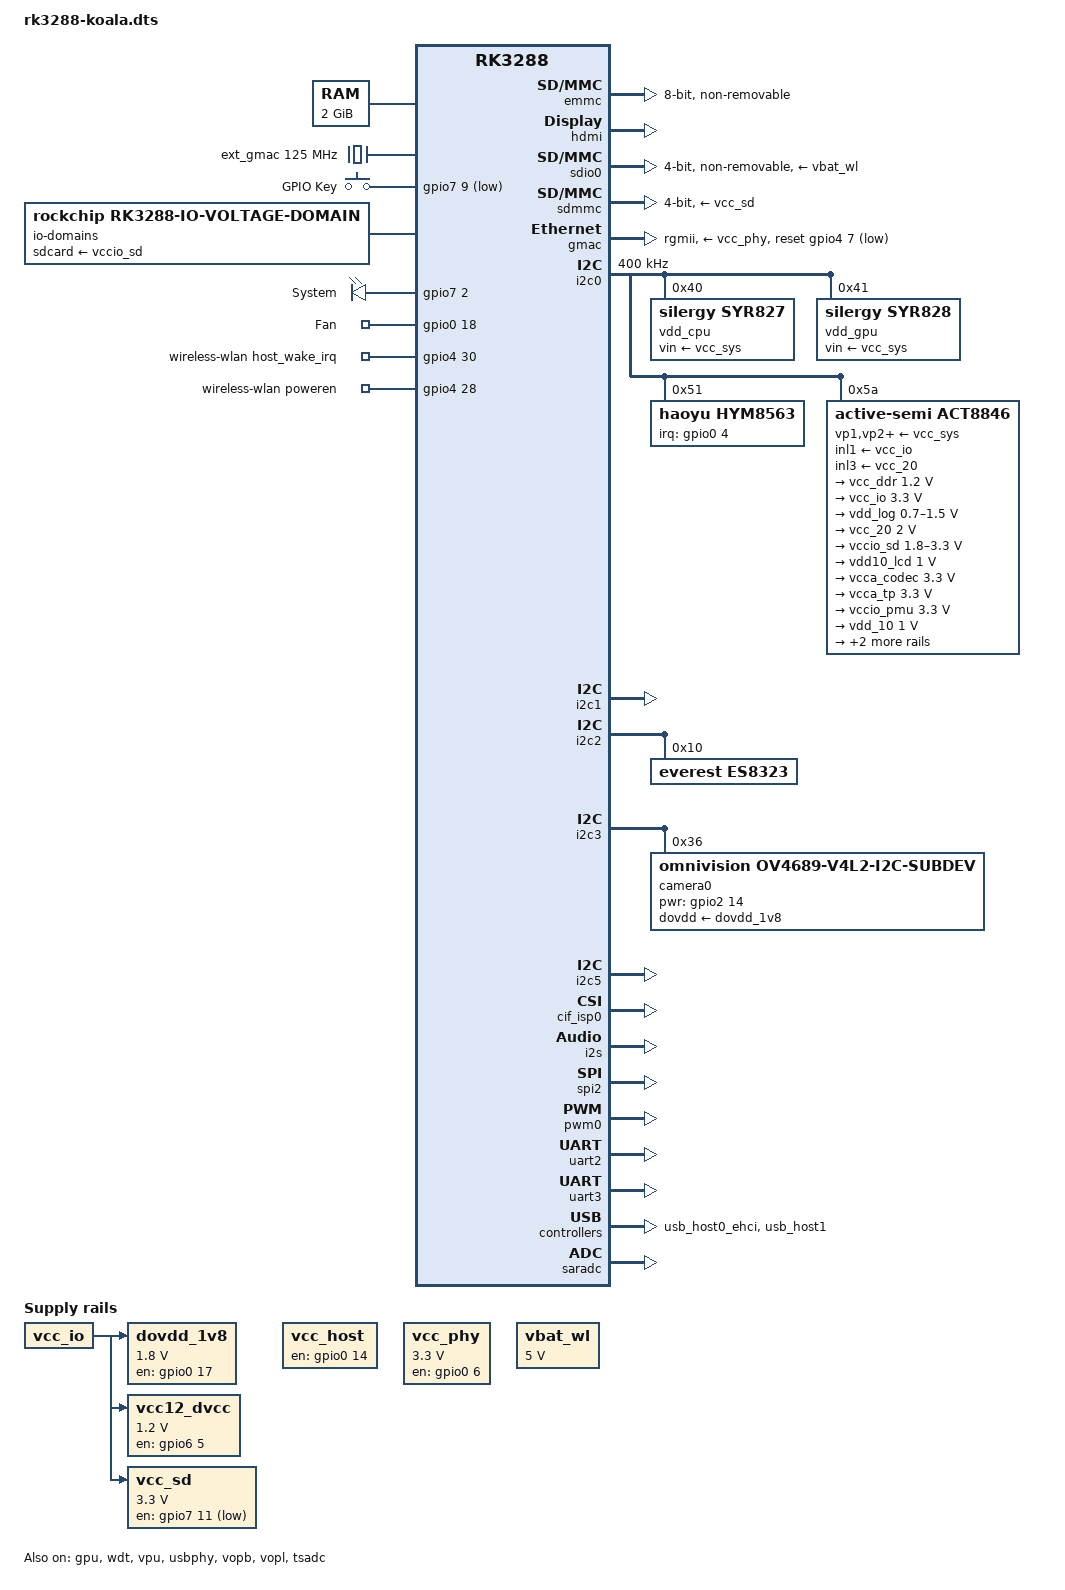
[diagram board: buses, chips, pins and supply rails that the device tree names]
/*
 * Copyright 2016 Rockchip, Inc
 *
 * This file is dual-licensed: you can use it either under the terms
 * of the GPL or the X11 license, at your option. Note that this dual
 * licensing only applies to this file, and not this project as a
 * whole.
 *
 *  a) This file is free software; you can redistribute it and/or
 *     modify it under the terms of the GNU General Public License as
 *     published by the Free Software Foundation; either version 2 of the
 *     License, or (at your option) any later version.
 *
 *     This file is distributed in the hope that it will be useful,
 *     but WITHOUT ANY WARRANTY; without even the implied warranty of
 *     MERCHANTABILITY or FITNESS FOR A PARTICULAR PURPOSE.  See the
 *     GNU General Public License for more details.
 *
 *  Or, alternatively,
 *
 *  b) Permission is hereby granted, free of charge, to any person
 *     obtaining a copy of this software and associated documentation
 *     files (the "Software"), to deal in the Software without
 *     restriction, including without limitation the rights to use,
 *     copy, modify, merge, publish, distribute, sublicense, and/or
 *     sell copies of the Software, and to permit persons to whom the
 *     Software is furnished to do so, subject to the following
 *     conditions:
 *
 *     The above copyright notice and this permission notice shall be
 *     included in all copies or substantial portions of the Software.
 *
 *     THE SOFTWARE IS PROVIDED "AS IS", WITHOUT WARRANTY OF ANY KIND,
 *     EXPRESS OR IMPLIED, INCLUDING BUT NOT LIMITED TO THE WARRANTIES
 *     OF MERCHANTABILITY, FITNESS FOR A PARTICULAR PURPOSE AND
 *     NONINFRINGEMENT. IN NO EVENT SHALL THE AUTHORS OR COPYRIGHT
 *     HOLDERS BE LIABLE FOR ANY CLAIM, DAMAGES OR OTHER LIABILITY,
 *     WHETHER IN AN ACTION OF CONTRACT, TORT OR OTHERWISE, ARISING
 *     FROM, OUT OF OR IN CONNECTION WITH THE SOFTWARE OR THE USE OR
 *     OTHER DEALINGS IN THE SOFTWARE.
 */

/dts-v1/;
#include <dt-bindings/pwm/pwm.h>
#include "rk3288.dtsi"

/*
GPIO_MAPPING
linux-rockchip/include/dt-bindings/pinctrl/rk.h
#define GPIO_A0         0
#define GPIO_A1         1
#define GPIO_A2         2
#define GPIO_A3         3
#define GPIO_A4         4
#define GPIO_A5         5
#define GPIO_A6         6
#define GPIO_A7         7
#define GPIO_B0         8
#define GPIO_B1         9
#define GPIO_B2         10
#define GPIO_B3         11
#define GPIO_B4         12
#define GPIO_B5         13
#define GPIO_B6         14
#define GPIO_B7         15
#define GPIO_C0         16
#define GPIO_C1         17
#define GPIO_C2         18
#define GPIO_C3         19
#define GPIO_C4         20
#define GPIO_C5         21
#define GPIO_C6         22
#define GPIO_C7         23
#define GPIO_D0         24
#define GPIO_D1         25
#define GPIO_D2         26
#define GPIO_D3         27
#define GPIO_D4         28
#define GPIO_D5         29
#define GPIO_D6         30
#define GPIO_D7         31
*/

/ {
	compatible = "rockchip,rk3288-koala", "rockchip,rk3288";

	ion {
	    compatible = "rockchip,ion";
            #address-cells = <1>;
	    #size-cells = <0>;

	    cma-heap {
                reg = <0x78000000 0x08000000>;
        	};

	system-heap {
        	    };
	};
    
	memory {
		device_type = "memory";
		reg = <0x0 0x80000000>;
	};

	sound {
		compatible = "simple-audio-card";
		simple-audio-card,format = "i2s";
		simple-audio-card,name = "DW-HDMI";
		simple-audio-card,mclk-fs = <512>;

		simple-audio-card,dai-link@0 {  /* I2S - S/PDIF */
			format = "i2s";
			cpu {
				sound-dai = <&i2s>;
			};
			codec {
				sound-dai = <&hdmi>;
			};
		};

                simple-audio-card,dai-link@1 {
                        format = "i2s";
                        cpu {
                                sound-dai = <&i2s>;
                        };

                        codec {
                                sound-dai = <&es8323>;
                        };
                };

		/*
		 * If you want to support more cards,
		 * you can add more dai-link node,
		 * such as
		 *
		 *   simple-audio-card,dai-link@1 {
		 *       ......
		 *   }
		 */

	};

	ext_gmac: external-gmac-clock {
		compatible = "fixed-clock";
		clock-frequency = <125000000>;
		clock-output-names = "ext_gmac";
		#clock-cells = <0>;
	};

	gpio-keys {
		compatible = "gpio-keys";
		#address-cells = <1>;
		#size-cells = <0>;
		autorepeat;

		pinctrl-names = "default";
		pinctrl-0 = <&gkey>;

		button@0 {
			gpios = <&gpio7 9 GPIO_ACTIVE_LOW>;
			linux,code = <116>;
			label = "GPIO Key";
			linux,input-type = <1>;
			debounce-interval = <100>;
		};
	};

	/* This turns on USB vbus for both host0 (ehci) and host1 (dwc2) */
	vcc_host: vcc-host-regulator {
		compatible = "regulator-fixed";
		enable-active-high;
		gpio = <&gpio0 14 GPIO_ACTIVE_HIGH>;
		pinctrl-names = "default";
		pinctrl-0 = <&host_vbus_drv>;
		regulator-name = "vcc_host";
		regulator-always-on;
		regulator-boot-on;
	};

	vcc_phy: vcc-phy-regulator {
		compatible = "regulator-fixed";
		enable-active-high;
		gpio = <&gpio0 6 GPIO_ACTIVE_HIGH>;
		pinctrl-names = "default";
		pinctrl-0 = <&eth_phy_pwr>;
		regulator-name = "vcc_phy";
		regulator-min-microvolt = <3300000>;
		regulator-max-microvolt = <3300000>;
		regulator-always-on;
		regulator-boot-on;
	};

	vbat_wl: vcc_sys: vsys-regulator {
		compatible = "regulator-fixed";
		regulator-name = "vcc_sys";
		regulator-min-microvolt = <5000000>;
		regulator-max-microvolt = <5000000>;
		regulator-always-on;
		regulator-boot-on;
	};

	dovdd_1v8: dovdd-1v8-regulator {
		compatible = "regulator-fixed";
		enable-active-high;
		/*GPIO0_C1*/
		gpio = <&gpio0 17 GPIO_ACTIVE_HIGH>;
		pinctrl-names = "default";
		pinctrl-0 = <&dvp_pwr>;

		regulator-name = "dovdd_1v8";
		regulator-min-microvolt = <1800000>;
		regulator-max-microvolt = <1800000>;
		vin-supply = <&vcc_io>;
	};

	vcc12_dvcc: vcc12_dvcc-regulator {
		compatible = "regulator-fixed";
		enable-active-high;

		gpio = <&gpio6 5 GPIO_ACTIVE_HIGH>;
		pinctrl-names = "default";
		pinctrl-0 = <&cif_pwr>;

		regulator-name = "vcc12_dvcc";
		regulator-min-microvolt = <1200000>;
		regulator-max-microvolt = <1200000>;
		vin-supply = <&vcc_io>;
	};


	



	/*
	 * NOTE: vcc_sd isn't hooked up on v1.0 boards where power comes from
	 * vcc_io directly.  Those boards won't be able to power cycle SD cards
	 * but it shouldn't hurt to toggle this pin there anyway.
	 */
	vcc_sd: sdmmc-regulator {
		compatible = "regulator-fixed";
		gpio = <&gpio7 11 GPIO_ACTIVE_LOW>;
		pinctrl-names = "default";
		pinctrl-0 = <&sdmmc_pwr>;
		regulator-name = "vcc_sd";
		regulator-min-microvolt = <3300000>;
		regulator-max-microvolt = <3300000>;
		startup-delay-us = <100000>;
		vin-supply = <&vcc_io>;
	};

	io-domains {
		compatible = "rockchip,rk3288-io-voltage-domain";
		rockchip,grf = <&grf>;
		sdcard-supply = <&vccio_sd>;
	};

	board-leds {
			compatible = "gpio-leds";
			status = "okay";

			work {
					label = "System";
					linux,default-trigger = "timer";
					default-state = "on";
					gpios = <&gpio7 2 GPIO_ACTIVE_HIGH>;
			};

			fan {
					label = "Fan";
					linux,default-trigger = "heartbeat";
					default-state = "on";
					gpios = <&gpio0 18 GPIO_ACTIVE_HIGH>;
			};
	};

/*
	for Koala board
	BT:
		BT_RST -> GPIO4_D5 -> <4 29>
		BT_HOST_WAKE -> GPIO4_D7 -> <4 31>
		BT_WAKE -> GPIO4_D2 -> <4 26>
	WIFI:
		WIFI_HOST_WAKE -> GPIO4_D6<4 30>
		VCCIO_WL -> vccio_18 1.8v
*/
	wireless-bluetooth {
		compatible = "bluetooth-platdata";
		uart_rts_gpios = <&gpio4 19 GPIO_ACTIVE_LOW>;
		pinctrl-names = "default", "rts_gpio";
		pinctrl-0 = <&uart0_rts>;
		pinctrl-1 = <&uart0_gpios>;
		BT,reset_gpio    = <&gpio4 29 GPIO_ACTIVE_HIGH>;
		BT,wake_gpio     = <&gpio4 26 GPIO_ACTIVE_HIGH>;
		BT,wake_host_irq = <&gpio4 31 GPIO_ACTIVE_HIGH>;
		status = "disabled";
	};

	wireless-wlan {
		compatible = "wlan-platdata";
		rockchip,grf = <&grf>;
		wifi_chip_type = "ap6181";
		sdio_vref = <1800>;
		WIFI,host_wake_irq = <&gpio4 30 GPIO_ACTIVE_HIGH>;
		WIFI,poweren_gpio = <&gpio4 28 GPIO_ACTIVE_HIGH>;
		status = "okay";
	};
};

&cpu0 {
	cpu0-supply = <&vdd_cpu>;
       operating-points = <
           /* KHz    uV */
           1800000 1400000
           1704000 1350000
           1608000 1300000
           1512000 1250000
           1416000 1200000
           1200000 1100000
            1008000 1050000
       >;
};

&gpu {
	status = "okay";
	mali-supply = <&vdd_gpu>;
    power-off-delay-ms = <200>;
};

&emmc {
	bus-width = <8>;
	cap-mmc-highspeed;
	disable-wp;
	non-removable;
	clock-frequency = <75000000>;
	num-slots = <1>;
	pinctrl-names = "default";
	pinctrl-0 = <&emmc_clk &emmc_cmd &emmc_pwr &emmc_bus8>;
	status = "okay";
};

&hdmi {
	#address-cells = <1>;
	#size-cells = <0>;
	#sound-dai-cells = <0>;
	ddc-i2c-bus = <&i2c5>;
	status = "okay";
};

&sdio0 {
	clock-frequency = <50000000>;
	clock-freq-min-max = <200000 50000000>;

	bus-width = <4>;
	cap-sd-highspeed;
	cap-sdio-irq;
	disable-wp;
	keep-power-in-suspend;
	non-removable;
	num-slots = <1>;
	pinctrl-names = "default";
	pinctrl-0 = <&sdio0_bus4 &sdio0_cmd &sdio0_clk &sdio0_int>;
	sd-uhs-sdr104;
	supports-sdio;

/*
	- vmmc-supply: power to the Core
	- vqmmc-supply: power to the IO
	koala: vcc_io(3v-4.8v) -> vbat_wl
*/
	vmmc-supply = <&vbat_wl>;
	vqmmc-supply = <&vccio_wl>;
	status = "okay";
};

&sdmmc {
	supports-sd;
	bus-width = <4>;
	cap-mmc-highspeed;
	sd-uhs-sdr12;
	sd-uhs-sdr25;
	sd-uhs-sdr50;
	sd-uhs-sdr104;
	cap-sd-highspeed;
	card-detect-delay = <200>;
	disable-wp;			/* wp not hooked up */
	num-slots = <1>;
	pinctrl-names = "default";
	pinctrl-0 = <&sdmmc_clk &sdmmc_cmd &sdmmc_cd &sdmmc_bus4>;
	status = "okay";
	vmmc-supply = <&vcc_sd>;
	vqmmc-supply = <&vccio_sd>;
};

&gmac {
	phy-supply = <&vcc_phy>;
	phy-mode = "rgmii";
	clock_in_out = "input";
	snps,reset-gpio = <&gpio4 7 0>;
	snps,reset-active-low;
	snps,reset-delays-us = <0 10000 1000000>;
	assigned-clocks = <&cru SCLK_MAC>;
	assigned-clock-parents = <&ext_gmac>;
	pinctrl-names = "default";
	pinctrl-0 = <&rgmii_pins>;
	tx_delay = <0x30>;
	rx_delay = <0x10>;
	status = "ok";
};

/* ----------------------------------------------------------------------------------
I2C
   0 - PMIC(ACT8846)
       RTC(HYM8563)
       SYR827 -> VDD_CPU_FB
       SYR828 -> VDD_GPU_FB
   1 - Header-J9
   2 - Header-J10
   3 - NC
   4 - NC
   5 - HDMI
-------------------------------------------------------------------------------------*/
&i2c0 {
	status = "okay";

	clock-frequency = <400000>;

	vdd_cpu: syr827@40 {
		compatible = "silergy,syr827";
		fcs,suspend-voltage-selector = <1>;
		reg = <0x40>;
		regulator-name = "vdd_cpu";
		regulator-min-microvolt = <712500>;
		regulator-max-microvolt = <1500000>;
		regulator-always-on;
		regulator-boot-on;
		regulator-enable-ramp-delay = <300>;
		regulator-ramp-delay = <8000>;
		vin-supply = <&vcc_sys>;
	};

	vdd_gpu: syr828@41 {
		compatible = "silergy,syr828";
		fcs,suspend-voltage-selector = <1>;
		reg = <0x41>;
		regulator-name = "vdd_gpu";
		regulator-min-microvolt = <712500>;
		regulator-max-microvolt = <1500000>;
		regulator-always-on;
		vin-supply = <&vcc_sys>;
	};

	hym8563: hym8563@51 {
		compatible = "haoyu,hym8563";
		reg = <0x51>;

		interrupt-parent = <&gpio0>;
		interrupts = <4 IRQ_TYPE_EDGE_FALLING>;

		pinctrl-names = "default";
		pinctrl-0 = <&pmic_int>;

		#clock-cells = <0>;
		clock-output-names = "xin32k";
	};

	act8846: act8846@5a {
		compatible = "active-semi,act8846";
		reg = <0x5a>;
		status = "okay";
        system-power-controller;

		vp1-supply = <&vcc_sys>;
		vp2-supply = <&vcc_sys>;
		vp3-supply = <&vcc_sys>;
		vp4-supply = <&vcc_sys>;
		inl1-supply = <&vcc_io>;
		inl2-supply = <&vcc_sys>;
		inl3-supply = <&vcc_20>;

		regulators {
			vcc_ddr: REG1 {
				regulator-name = "VCC_DDR";
				regulator-min-microvolt = <1200000>;
				regulator-max-microvolt = <1200000>;
				regulator-always-on;
			};

			vcc_io: REG2 {
				regulator-name = "VCC_IO";
				regulator-min-microvolt = <3300000>;
				regulator-max-microvolt = <3300000>;
				regulator-always-on;
			};

			vdd_log: REG3 {
				regulator-name = "VDD_LOG";
				regulator-min-microvolt = <700000>;
				regulator-max-microvolt = <1500000>;
				regulator-always-on;
                regulator-boot-on;
			};

			vcc_20: REG4 {
				regulator-name = "VCC_20";
				regulator-min-microvolt = <2000000>;
				regulator-max-microvolt = <2000000>;
				regulator-always-on;
			};

			vccio_sd: REG5 {
				regulator-name = "VCCIO_SD";
				regulator-min-microvolt = <1800000>;
				regulator-max-microvolt = <3300000>;
				regulator-always-on;
			};

			vdd10_lcd: REG6 {
				regulator-name = "VDD10_LCD";
				regulator-min-microvolt = <1000000>;
				regulator-max-microvolt = <1000000>;
				regulator-always-on;
			};

			vcca_codec: REG7 {
				regulator-name = "VCCA_CODEC";
				regulator-min-microvolt = <3300000>;
				regulator-max-microvolt = <3300000>;
				regulator-always-on;
			};

			vcca_tp: REG8 {
				regulator-name = "VCCA_TP";
				regulator-min-microvolt = <3300000>;
				regulator-max-microvolt = <3300000>;
				regulator-always-on;
			};

			vccio_pmu: REG9 {
				regulator-name = "VCCIO_PMU";
				regulator-min-microvolt = <3300000>;
				regulator-max-microvolt = <3300000>;
				regulator-always-on;
			};

			vdd_10: REG10 {
				regulator-name = "VDD_10";
				regulator-min-microvolt = <1000000>;
				regulator-max-microvolt = <1000000>;
				regulator-always-on;
			};

			vccio_wl: vcc_18: REG11 {
				regulator-name = "VCC_18";
				regulator-min-microvolt = <1800000>;
				regulator-max-microvolt = <1800000>;
				regulator-always-on;
			};

			vcc18_lcd: REG12 {
				regulator-name = "VCC18_LCD";
				regulator-min-microvolt = <1800000>;
				regulator-max-microvolt = <1800000>;
				regulator-always-on;
			};
		};
	};
};

&i2c1 {
	status = "okay";
	/* Add more nodes to your requirement, such as i2c0 */
};

&i2c2 {
	status = "okay";
	/* Add more nodes to your requirement, such as i2c2 */

        es8323: es8323@10 {
                compatible = "everest,es8323";
                reg = <0x10>;
                clock-names = "mclk";
                clocks = <&cru SCLK_I2S0_OUT>;
                #sound-dai-cells = <0>;
        };

};

&i2c3 {
        status = "okay";
	        camera0:camera-module@0 {
                status = "okay";

                compatible = "omnivision,ov4689-v4l2-i2c-subdev";
                /* SID=low */
                reg = < 0x36 >;
                device_type = "v4l2-i2c-subdev";

                clocks = <&cru SCLK_VIP_OUT>;
                clock-names = "clk_cif_out";

		dovdd-supply = <&dovdd_1v8>; /* 1.8v */
		dvcc = <&vcc12_dvcc>; /*1.2v*/


		rockchip,camera-module-regulator-names ="dovdd_1v8", "vcc12_dvcc";
		rockchip,camera-module-regulator-voltages = <1800000>, <1200000>;

                pinctrl-names = "rockchip,camera_default", "rockchip,camera_sleep";
                pinctrl-0 = <&cam0_default_pins>;
                pinctrl-1 = <&cam0_sleep_pins>;

                /*
                 *  CIFCK0 -> EXTCLK    -> GPIO2_B3 (11)
                 *  CAMPD  -> PWDN      -> GPIO2_B4 (12)
                 *  CAMSD  -> XSHUTDOWN -> GPIO2_B5 (13)
                 */

                rockchip,pwr-gpio = <&gpio2 14 GPIO_ACTIVE_HIGH>;
		
                rockchip,camera-module-mclk-name = "clk_cif_out";
                rockchip,camera-module-dovdd = "1.8v";
                rockchip,camera-module-facing = "back";
                rockchip,camera-module-name = "cmk-cb0695-fv1";
                rockchip,camera-module-len-name = "lg9569a2";
                rockchip,camera-module-fov-h = "66.0";
                rockchip,camera-module-fov-v = "50.1";
                rockchip,camera-module-orientation = <0>;
                rockchip,camera-module-iq-flip = <0>;
                rockchip,camera-module-iq-mirror = <0>;
                rockchip,camera-module-flip = <0>;
                rockchip,camera-module-mirror = <0>;

                /* resolution.w, resolution.h, defrect.left, defrect.top, defrect.w, defrect.h */
                rockchip,camera-module-defrect0 = <3264 2448 0 0 3264 2448>;
                rockchip,camera-module-flash-support = <0>;
                rockchip,camera-module-mipi-dphy-index = <0>;
        };
};

&i2c5 {
	status = "okay";
};

&cif_isp0 {
          rockchip,camera-modules-attached = <&camera0>;
          status = "okay";
};

&i2s {
	#sound-dai-cells = <0>;
	status = "okay";
};

&spi2 {
	status = "okay";
};

&wdt {
	status = "okay";
};

&pwm0 {
	status = "okay";
};

/*
 * Debug Serial Port
 */
&uart2 {
	status = "okay";
};

&uart3 {
	status = "okay";
};

&vpu {
	status = "okay";
};

&usbphy {
	status = "okay";
};

&usb_host0_ehci {
	status = "okay";
};

&usb_host1 {
	status = "okay";
};

&vopb {
	status = "okay";
};

&vopb_mmu {
	status = "okay";
};

&vopl {
	status = "okay";
};

&vopl_mmu {
	status = "okay";
};

&pinctrl {
	pcfg_pull_none_drv_8ma: pcfg-pull-none-drv-8ma {
		drive-strength = <8>;
	};

	pcfg_pull_up_drv_8ma: pcfg-pull-up-drv-8ma {
		bias-pull-up;
		drive-strength = <8>;
	};

	buttons {
		gkey: gkey {
			rockchip,pins = <7 9 RK_FUNC_GPIO &pcfg_pull_up>;
		};
	};

	pmic {
		pmic_int: pmic-int {
			rockchip,pins = <RK_GPIO0 4 RK_FUNC_GPIO &pcfg_pull_up>;
		};
	};

	/*
	* Koala: WIFI_REG_ON -> GPIO4_D4<4 28>
	* ref GPIO_MAPPING
	*/

	sdmmc {
		/*
		 * Default drive strength isn't enough to achieve even
		 * high-speed mode on EVB board so bump up to 8ma.
		 */
		sdmmc_bus4: sdmmc-bus4 {
			rockchip,pins = <6 16 RK_FUNC_1 &pcfg_pull_up_drv_8ma>,
					<6 17 RK_FUNC_1 &pcfg_pull_up_drv_8ma>,
					<6 18 RK_FUNC_1 &pcfg_pull_up_drv_8ma>,
					<6 19 RK_FUNC_1 &pcfg_pull_up_drv_8ma>;
		};

		sdmmc_clk: sdmmc-clk {
			rockchip,pins = <6 20 RK_FUNC_1 &pcfg_pull_none_drv_8ma>;
		};

		sdmmc_cmd: sdmmc-cmd {
			rockchip,pins = <6 21 RK_FUNC_1 &pcfg_pull_up_drv_8ma>;
		};

		sdmmc_pwr: sdmmc-pwr {
			rockchip,pins = <7 11 RK_FUNC_GPIO &pcfg_pull_none>;
		};
	};

	usb {
		host_vbus_drv: host-vbus-drv {
			rockchip,pins = <0 14 RK_FUNC_GPIO &pcfg_pull_none>;
		};

		pwr_3g: pwr-3g {
			rockchip,pins = <7 8 RK_FUNC_GPIO &pcfg_pull_none>;
		};
	};

	eth_phy {
		eth_phy_pwr: eth-phy-pwr {
			rockchip,pins = <0 6 RK_FUNC_GPIO &pcfg_pull_none>;
		};
	};

	wireless-bluetooth {
		uart0_gpios: uart0-gpios {
			rockchip,pins = <4 19 RK_FUNC_GPIO &pcfg_pull_none>;
		};
	};

	dvp {
		dvp_pwr: dvp-pwr {
			rockchip,pins = <0 17 RK_FUNC_GPIO &pcfg_pull_none>;
		};
	};

	cif {
		cif_pwr: cif-pwr {
			rockchip,pins = <6 5 RK_FUNC_GPIO &pcfg_pull_none>;
		};
	};

        cam_pins {
                cam0_default_pins: cam0_default_pins {
                        rockchip,pins = <2 14 RK_FUNC_GPIO &pcfg_pull_none>,
                                        <2 11 RK_FUNC_1 &pcfg_pull_none>; /* clkout */
                };
                cam0_sleep_pins: cam0_sleep_pins {
                        rockchip,pins = <2 14 RK_FUNC_GPIO &pcfg_pull_none>,
                                        <2 11 RK_FUNC_GPIO &pcfg_pull_none>; /* clkout */
                };
        };
};

&tsadc {
    status = "okay";
    rockchip,hw-tshut-mode = <1>; /* tshut mode 0:CRU 1:GPIO */
    rockchip,hw-tshut-polarity = <1>; /* tshut polarity 0:LOW 1:HIGH */
};

&saradc {
   status = "okay";
};

